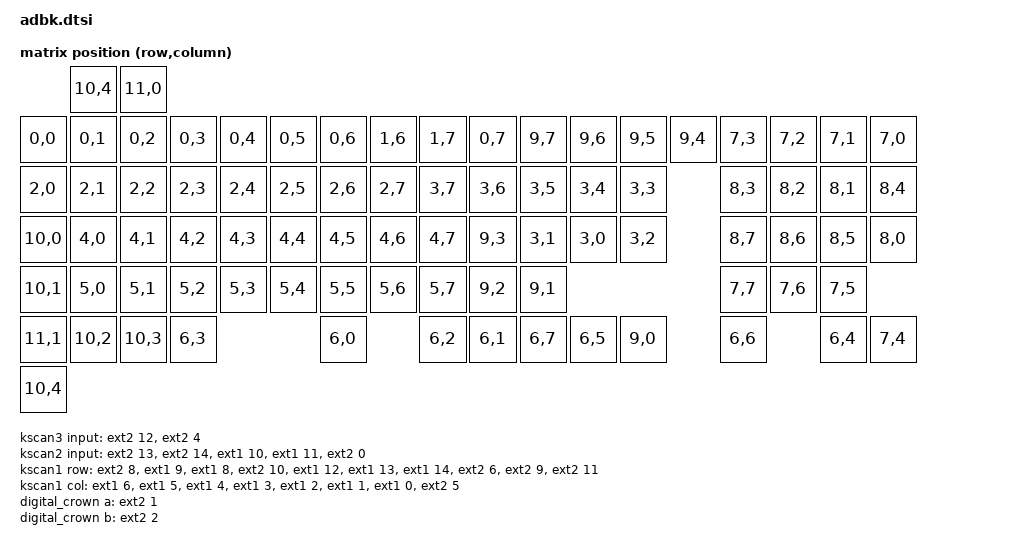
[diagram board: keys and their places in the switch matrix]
#include <dt-bindings/zmk/matrix_transform.h>

/ {
    chosen {
        zmk,kscan = &kscan0;
        zmk,matrix-transform = &default_transform;
        zephyr,display = &nice_view;
    };

    kscan0: kscan_composite {
        compatible = "zmk,kscan-composite";

        matrix {
            kscan = <&kscan1>;
        };

        direct {
            kscan = <&kscan2>;
            row-offset = <10>;
        };

        capslock {
            kscan = <&kscan3>;
            row-offset = <11>;
        };
    };

    kscan3: kscan_sp3t_toggle {
        compatible = "zmk,kscan-gpio-direct";
        toggle-mode;

        input-gpios
        = <&ext2 12 (GPIO_ACTIVE_LOW | GPIO_PULL_UP)>
        , <&ext2 4 GPIO_ACTIVE_LOW>
        ;
    };

    kscan2: kscan_direct {
        compatible = "zmk,kscan-gpio-direct";
        wakeup-source;

        input-gpios
            = <&ext2 13 (GPIO_ACTIVE_LOW | GPIO_PULL_UP)>
            , <&ext2 14 (GPIO_ACTIVE_LOW | GPIO_PULL_UP)>
            , <&ext1 10 (GPIO_ACTIVE_LOW | GPIO_PULL_UP)>
            , <&ext1 11 (GPIO_ACTIVE_LOW | GPIO_PULL_UP)>
            , <&ext2 0 (GPIO_ACTIVE_LOW | GPIO_PULL_UP)>
            ;

    };

    kscan1: kscan_matrix {
        compatible = "zmk,kscan-gpio-matrix";
        diode-direction = "row2col";
        col-gpios
            = <&ext1 6 GPIO_ACTIVE_LOW>
            , <&ext1 5 GPIO_ACTIVE_LOW>
            , <&ext1 4 GPIO_ACTIVE_LOW>
            , <&ext1 3 GPIO_ACTIVE_LOW>
            , <&ext1 2 GPIO_ACTIVE_LOW>
            , <&ext1 1 GPIO_ACTIVE_LOW>
            , <&ext1 0 GPIO_ACTIVE_LOW>
            , <&ext2 5 GPIO_ACTIVE_LOW>
            ;
        row-gpios
            = <&ext2 8 (GPIO_ACTIVE_LOW | GPIO_PULL_UP)>
            , <&ext1 9 (GPIO_ACTIVE_LOW | GPIO_PULL_UP)>
            , <&ext1 8 (GPIO_ACTIVE_LOW | GPIO_PULL_UP)>
            , <&ext2 10 (GPIO_ACTIVE_LOW | GPIO_PULL_UP)>
            , <&ext1 12 (GPIO_ACTIVE_LOW | GPIO_PULL_UP)>
            , <&ext1 13 (GPIO_ACTIVE_LOW | GPIO_PULL_UP)>
            , <&ext1 14 (GPIO_ACTIVE_LOW | GPIO_PULL_UP)>
            , <&ext2 6 (GPIO_ACTIVE_LOW | GPIO_PULL_UP)>
            , <&ext2 9 (GPIO_ACTIVE_LOW | GPIO_PULL_UP)>
            , <&ext2 11 (GPIO_ACTIVE_LOW | GPIO_PULL_UP)>
            ;

    };

    digital_crown: encoder {
        compatible = "alps,ec11";
        a-gpios = <&ext2 1 (GPIO_ACTIVE_HIGH | GPIO_PULL_UP)>;
        b-gpios = <&ext2 2 (GPIO_ACTIVE_HIGH | GPIO_PULL_UP)>;
        steps = <80>;
        status = "disabled";
    };

    default_transform: matrix_transform {
        compatible = "zmk,matrix-transform";
        rows = <6>;
        columns = <18>;

        map = <
                    RC(10,4)    RC(11,0)
        RC(0,0)     RC(0,1)     RC(0,2)     RC(0,3)     RC(0,4)     RC(0,5)     RC(0,6)     RC(1,6)     RC(1,7)     RC(0,7)     RC(9,7)     RC(9,6)     RC(9,5)     RC(9,4)     RC(7,3)     RC(7,2)     RC(7,1)     RC(7,0)
        RC(2,0)     RC(2,1)     RC(2,2)     RC(2,3)     RC(2,4)     RC(2,5)     RC(2,6)     RC(2,7)     RC(3,7)     RC(3,6)     RC(3,5)     RC(3,4)     RC(3,3)                 RC(8,3)     RC(8,2)     RC(8,1)     RC(8,4)
        RC(10,0)    RC(4,0)     RC(4,1)     RC(4,2)     RC(4,3)     RC(4,4)     RC(4,5)     RC(4,6)     RC(4,7)     RC(9,3)     RC(3,1)     RC(3,0)     RC(3,2)                 RC(8,7)     RC(8,6)     RC(8,5)     RC(8,0)
        RC(10,1)    RC(5,0)     RC(5,1)     RC(5,2)     RC(5,3)     RC(5,4)     RC(5,5)     RC(5,6)     RC(5,7)     RC(9,2)     RC(9,1)                                         RC(7,7)     RC(7,6)     RC(7,5)
        RC(11,1)    RC(10,2)    RC(10,3)    RC(6,3)                             RC(6,0)                 RC(6,2)     RC(6,1)     RC(6,7)     RC(6,5)     RC(9,0)                 RC(6,6)                 RC(6,4)     RC(7,4)
        RC(10,4)
        >;
    };

};
